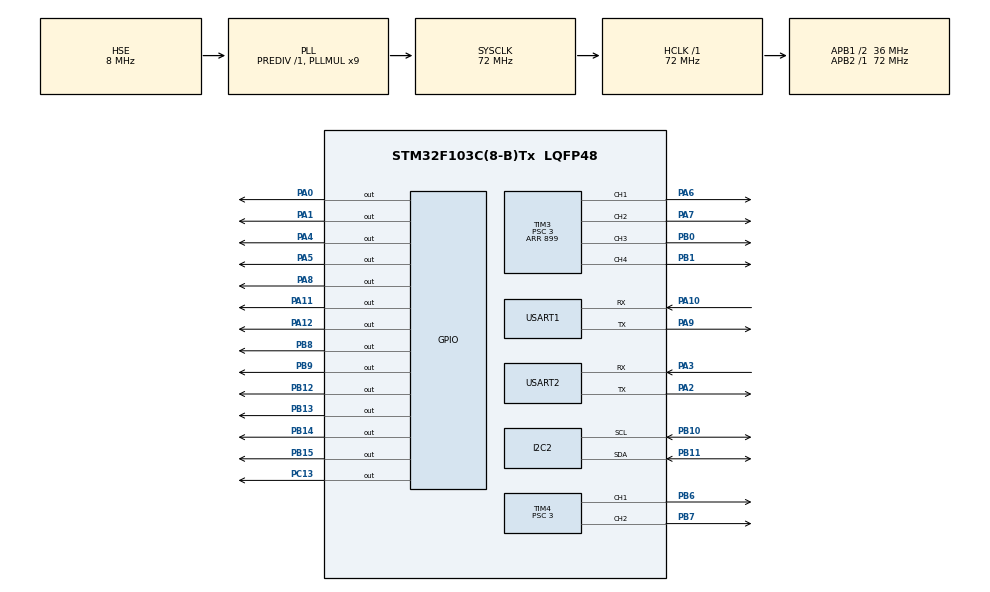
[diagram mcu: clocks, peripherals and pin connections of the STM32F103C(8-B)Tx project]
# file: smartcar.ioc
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Mcu.Family=STM32F1
Mcu.Name=STM32F103C(8-B)Tx
Mcu.Package=LQFP48
NVIC.PriorityGroup=NVIC_PRIORITYGROUP_4
NVIC.USART1_IRQn=true\:0\:0\:false\:false\:true\:true\:true\:true
NVIC.USART2_IRQn=true\:0\:0\:false\:false\:true\:true\:true\:true
PA0-WKUP.Signal=GPIO_Output
PA1.Signal=GPIO_Output
PA10.Mode=Asynchronous
PA10.Signal=USART1_RX
PA11.Signal=GPIO_Output
PA12.Signal=GPIO_Output
PA13.Mode=Serial_Wire
PA13.Signal=SYS_JTMS-SWDIO
PA14.Mode=Serial_Wire
PA14.Signal=SYS_JTCK-SWCLK
PA2.Mode=Asynchronous
PA2.Signal=USART2_TX
PA3.Mode=Asynchronous
PA3.Signal=USART2_RX
PA4.Signal=GPIO_Output
PA5.Signal=GPIO_Output
PA6.Signal=S_TIM3_CH1
PA7.Signal=S_TIM3_CH2
PA8.Signal=GPIO_Output
PA9.Mode=Asynchronous
PA9.Signal=USART1_TX
PB0.Signal=S_TIM3_CH3
PB1.Signal=S_TIM3_CH4
PB10.Mode=I2C
PB10.Signal=I2C2_SCL
PB11.Mode=I2C
PB11.Signal=I2C2_SDA
PB12.Signal=GPIO_Output
PB13.Signal=GPIO_Output
PB14.Signal=GPIO_Output
PB15.Signal=GPIO_Output
PB6.Signal=S_TIM4_CH1
PB7.Signal=S_TIM4_CH2
PB8.Signal=GPIO_Output
PB9.Signal=GPIO_Output
PC13-TAMPER-RTC.PinState=GPIO_PIN_SET
PC13-TAMPER-RTC.Signal=GPIO_Output
PD0-OSC_IN.Mode=HSE-External-Oscillator
PD0-OSC_IN.Signal=RCC_OSC_IN
PD1-OSC_OUT.Mode=HSE-External-Oscillator
PD1-OSC_OUT.Signal=RCC_OSC_OUT
ProjectManager.HeapSize=0x200
ProjectManager.StackSize=0x400
ProjectManager.TargetToolchain=CMake
RCC.AHBFreq_Value=72000000
RCC.APB1CLKDivider=RCC_HCLK_DIV2
RCC.APB1Freq_Value=36000000
RCC.APB1TimFreq_Value=72000000
RCC.APB2Freq_Value=72000000
RCC.APB2TimFreq_Value=72000000
RCC.HCLKFreq_Value=72000000
RCC.PLLMUL=RCC_PLL_MUL9
RCC.PLLSourceVirtual=RCC_PLLSOURCE_HSE
RCC.SYSCLKFreq_VALUE=72000000
RCC.SYSCLKSource=RCC_SYSCLKSOURCE_PLLCLK
RCC.USBFreq_Value=72000000
SH.S_TIM3_CH1.0=TIM3_CH1,PWM Generation1 CH1
SH.S_TIM3_CH2.0=TIM3_CH2,PWM Generation2 CH2
SH.S_TIM3_CH3.0=TIM3_CH3,PWM Generation3 CH3
SH.S_TIM3_CH4.0=TIM3_CH4,PWM Generation4 CH4
SH.S_TIM4_CH1.0=TIM4_CH1,PWM Generation1 CH1
SH.S_TIM4_CH2.0=TIM4_CH2,PWM Generation2 CH2
TIM3.AutoReloadPreload=TIM_AUTORELOAD_PRELOAD_ENABLE
TIM3.Channel-PWM\ Generation1\ CH1=TIM_CHANNEL_1
TIM3.Channel-PWM\ Generation2\ CH2=TIM_CHANNEL_2
TIM3.Channel-PWM\ Generation3\ CH3=TIM_CHANNEL_3
TIM3.Channel-PWM\ Generation4\ CH4=TIM_CHANNEL_4
TIM3.Period=899
TIM3.Prescaler=3
TIM4.AutoReloadPreload=TIM_AUTORELOAD_PRELOAD_ENABLE
TIM4.Channel-PWM\ Generation1\ CH1=TIM_CHANNEL_1
TIM4.Channel-PWM\ Generation2\ CH2=TIM_CHANNEL_2
TIM4.Period=899
TIM4.Prescaler=3
USART1.VirtualMode=VM_ASYNC
USART2.VirtualMode=VM_ASYNC
VP_TIM3_VS_ClockSourceINT.Mode=Internal
VP_TIM4_VS_ClockSourceINT.Mode=Internal
board=custom

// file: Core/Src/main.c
/* USER CODE BEGIN Header */
/**
  ******************************************************************************
  * @file           : main.c
  * @brief          : Main program body
  ******************************************************************************
  * @attention
  *
  * Copyright (c) 2026 STMicroelectronics.
  * All rights reserved.
  *
  * This software is licensed under terms that can be found in the LICENSE file
  * in the root directory of this software component.
  * If no LICENSE file comes with this software, it is provided AS-IS.
  *
  ******************************************************************************
  */
/* USER CODE END Header */
#include "main.h"
#include "i2c.h"
#include "tim.h"
#include "usart.h"
#include "gpio.h"

/* USER CODE BEGIN Includes */
#include "config.h"
#include "motor.h"
#include "chassis.h"
#include "servo.h"
#include "arm.h"
#include "proto.h"
#include "app.h"
#include "dbg.h"
#include "console.h"
/* USER CODE END Includes */

/* USER CODE BEGIN PV */
static uint8_t     g_rx1;
static uint8_t     g_rx2;
static proto_ctx_t g_ctx2;
static rc_frame_t  g_frame;
/* USER CODE END PV */

void SystemClock_Config(void);

/* USER CODE BEGIN 0 */
void HAL_UART_RxCpltCallback(UART_HandleTypeDef *huart)
{
  if (huart->Instance == USART1) {
    console_rx_byte(g_rx1);
    HAL_UART_Receive_IT(&huart1, &g_rx1, 1);
  } else if (huart->Instance == USART2) {
    if (proto_feed(&g_ctx2, g_rx2, &g_frame) == PROTO_FRAME) {
      app_on_frame(&g_frame, HAL_GetTick());
    }
    HAL_UART_Receive_IT(&huart2, &g_rx2, 1);
  }
}
void HAL_UART_ErrorCallback(UART_HandleTypeDef *huart)
{
  if (huart->Instance == USART1) {
    __HAL_UART_CLEAR_OREFLAG(huart);
    HAL_UART_Receive_IT(&huart1, &g_rx1, 1);
  } else if (huart->Instance == USART2) {
    __HAL_UART_CLEAR_OREFLAG(huart);
    HAL_UART_Receive_IT(&huart2, &g_rx2, 1);
  }
}
/* USER CODE END 0 */

int main(void)
{

  /* MCU Configuration--------------------------------------------------------*/

  /* Reset of all peripherals, Initializes the Flash interface and the Systick. */
  HAL_Init();

  /* Configure the system clock */
  SystemClock_Config();

  /* Initialize all configured peripherals */
  MX_GPIO_Init();
  MX_I2C2_Init();
  MX_TIM3_Init();
  MX_TIM4_Init();
  MX_USART1_UART_Init();
  MX_USART2_UART_Init();
  /* USER CODE BEGIN 2 */
  motor_init();
  chassis_init();
  servo_init();
  arm_init();
  proto_init(&g_ctx2);
  app_init();
  console_init();

  HAL_UART_Receive_IT(&huart1, &g_rx1, 1);
  HAL_UART_Receive_IT(&huart2, &g_rx2, 1);

  dbg_printf("\r\n===== smartcar =====\r\n");
  dbg_printf("PCA9685: %s\r\n", servo_ok() ? "OK" : "NO ACK");
  dbg_printf("type ? for help\r\n");
  /* USER CODE END 2 */

  /* Infinite loop */
  /* USER CODE BEGIN WHILE */
  uint32_t t10 = HAL_GetTick();

  while (1)
  {
    uint32_t now = HAL_GetTick();

    console_task();                 /* 非阻塞 */

    if ((uint32_t)(now - t10) >= 10u) {
      t10 += 10u;
      app_task_10ms(now);
    }

    /* USER CODE END WHILE */
  }
}

void SystemClock_Config(void)
{
  RCC_OscInitTypeDef RCC_OscInitStruct = {0};
  RCC_ClkInitTypeDef RCC_ClkInitStruct = {0};

  /** Initializes the RCC Oscillators according to the specified parameters
  * in the RCC_OscInitTypeDef structure.
  */
  RCC_OscInitStruct.OscillatorType = RCC_OSCILLATORTYPE_HSE;
  RCC_OscInitStruct.HSEState = RCC_HSE_ON;
  RCC_OscInitStruct.HSEPredivValue = RCC_HSE_PREDIV_DIV1;
  RCC_OscInitStruct.HSIState = RCC_HSI_ON;
  RCC_OscInitStruct.PLL.PLLState = RCC_PLL_ON;
  RCC_OscInitStruct.PLL.PLLSource = RCC_PLLSOURCE_HSE;
  RCC_OscInitStruct.PLL.PLLMUL = RCC_PLL_MUL9;
  if (HAL_RCC_OscConfig(&RCC_OscInitStruct) != HAL_OK)
  {
    Error_Handler();
  }

  /** Initializes the CPU, AHB and APB buses clocks
  */
  RCC_ClkInitStruct.ClockType = RCC_CLOCKTYPE_HCLK|RCC_CLOCKTYPE_SYSCLK
                              |RCC_CLOCKTYPE_PCLK1|RCC_CLOCKTYPE_PCLK2;
  RCC_ClkInitStruct.SYSCLKSource = RCC_SYSCLKSOURCE_PLLCLK;
  RCC_ClkInitStruct.AHBCLKDivider = RCC_SYSCLK_DIV1;
  RCC_ClkInitStruct.APB1CLKDivider = RCC_HCLK_DIV2;
  RCC_ClkInitStruct.APB2CLKDivider = RCC_HCLK_DIV1;

  if (HAL_RCC_ClockConfig(&RCC_ClkInitStruct, FLASH_LATENCY_2) != HAL_OK)
  {
    Error_Handler();
  }
}

void Error_Handler(void)
{
  __disable_irq();
  while (1)
  {
  }
}
